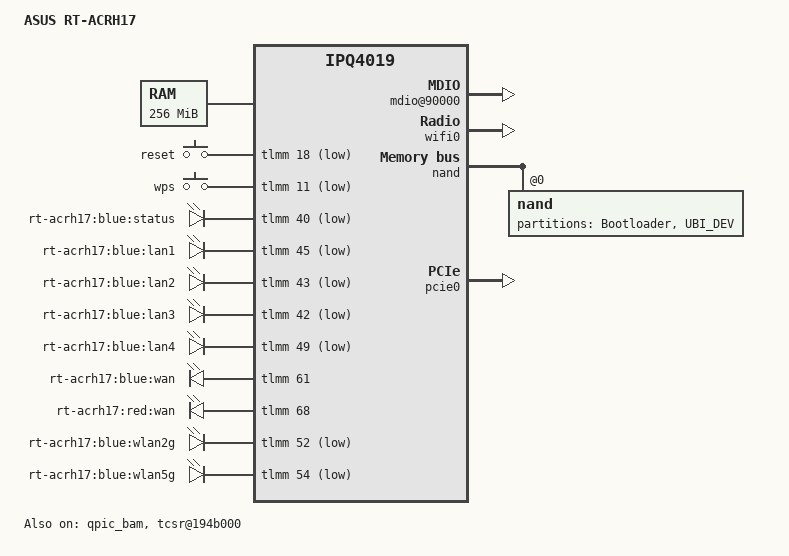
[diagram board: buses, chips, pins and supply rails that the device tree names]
/* Copyright (c) 2015, The Linux Foundation. All rights reserved.
 *
 * Permission to use, copy, modify, and/or distribute this software for any
 * purpose with or without fee is hereby granted, provided that the above
 * copyright notice and this permission notice appear in all copies.
 *
 * THE SOFTWARE IS PROVIDED "AS IS" AND THE AUTHOR DISCLAIMS ALL WARRANTIES
 * WITH REGARD TO THIS SOFTWARE INCLUDING ALL IMPLIED WARRANTIES OF
 * MERCHANTABILITY AND FITNESS. IN NO EVENT SHALL THE AUTHOR BE LIABLE FOR
 * ANY SPECIAL, DIRECT, INDIRECT, OR CONSEQUENTIAL DAMAGES OR ANY DAMAGES
 * WHATSOEVER RESULTING FROM LOSS OF USE, DATA OR PROFITS, WHETHER IN AN
 * ACTION OF CONTRACT, NEGLIGENCE OR OTHER TORTIOUS ACTION, ARISING OUT OF
 * OR IN CONNECTION WITH THE USE OR PERFORMANCE OF THIS SOFTWARE.
 *
 */

#include "qcom-ipq4019-ap.dk04.1.dtsi"
#include "qcom-ipq4019-bus.dtsi"
#include <dt-bindings/gpio/gpio.h>
#include <dt-bindings/input/input.h>
#include <dt-bindings/soc/qcom,tcsr.h>

/ {
	model = "ASUS RT-ACRH17";
	compatible = "asus,rt-acrh17", "qcom,ipq4019";

	memory {
		device_type = "memory";
		reg = <0x80000000 0x10000000>;
	};

	aliases {
		led-boot = &power;
		led-failsafe = &power;
		led-running = &power;
		led-upgrade = &power;
	};

	soc {
		spi_0: spi@78b5000 {
			status = "disabled";
		};

		tcsr@194b000 {
			/* select hostmode */
			compatible = "qcom,tcsr";
			reg = <0x194b000 0x100>;
			qcom,usb-hsphy-mode-select = <TCSR_USB_HSPHY_HOST_MODE>;
			status = "ok";
		};

		ess_tcsr@1953000 {
			compatible = "qcom,tcsr";
			reg = <0x1953000 0x1000>;
			qcom,ess-interface-select = <TCSR_ESS_PSGMII>;
		};

		tcsr@1949000 {
			compatible = "qcom,tcsr";
			reg = <0x1949000 0x100>;
			qcom,wifi_glb_cfg = <TCSR_WIFI_GLB_CFG>;
		};

		tcsr@1957000 {
			compatible = "qcom,tcsr";
			reg = <0x1957000 0x100>;
			qcom,wifi_noc_memtype_m0_m2 = <TCSR_WIFI_NOC_MEMTYPE_M0_M2>;
		};

		mdio@90000 {
			status = "okay";
		};

		ess-switch@c000000 {
			status = "okay";
		};

		ess-psgmii@98000 {
			status = "okay";
		};

		edma@c080000 {
			status = "okay";
		};

		wifi0: wifi@a000000 {
			status = "ok";
			core-id = <0x0>;
			qca,msi_addr = <0x0b006040>;
			qca,msi_base = <0x40>;
			wifi_led_num = <2>;         /* Wifi 2G */
			wifi_led_source = <0>;      /* source id 0 */
			qcom,mtd-name = "0:ART";
			qcom,cal-offset = <0x1000>;
			qcom,cal-len = <12064>;
		};

		wifi1: wifi@a800000 {
			status = "disabled";
		};
	};

	gpio-keys {
		compatible = "gpio-keys";

		reset {
			label = "reset";
			gpios = <&tlmm 18 GPIO_ACTIVE_LOW>;
			linux,code = <KEY_RESTART>;
		};

		wps {
			label = "wps";
			gpios = <&tlmm 11 GPIO_ACTIVE_LOW>;
			linux,code = <KEY_WPS_BUTTON>;
		};
	};

	gpio-leds {
		compatible = "gpio-leds";

		power: status {
			label = "rt-acrh17:blue:status";
			gpios = <&tlmm 40 GPIO_ACTIVE_LOW>;
		};

		lan1 {
			label = "rt-acrh17:blue:lan1";
			gpios = <&tlmm 45 GPIO_ACTIVE_LOW>;
		};

		lan2 {
			label = "rt-acrh17:blue:lan2";
			gpios = <&tlmm 43 GPIO_ACTIVE_LOW>;
		};

		lan3 {
			label = "rt-acrh17:blue:lan3";
			gpios = <&tlmm 42 GPIO_ACTIVE_LOW>;
		};

		lan4 {
			label = "rt-acrh17:blue:lan4";
			gpios = <&tlmm 49 GPIO_ACTIVE_LOW>;
		};

		wan_blue {
			label = "rt-acrh17:blue:wan";
			gpios = <&tlmm 61 GPIO_ACTIVE_HIGH>;
		};

		wan_red {
			label = "rt-acrh17:red:wan";
			gpios = <&tlmm 68 GPIO_ACTIVE_HIGH>;
		};

		wlan2g {
			label = "rt-acrh17:blue:wlan2g";
			gpios = <&tlmm 52 GPIO_ACTIVE_LOW>;
		};

		wlan5g {
			label = "rt-acrh17:blue:wlan5g";
			gpios = <&tlmm 54 GPIO_ACTIVE_LOW>;
		};
	};
};

&nand {
	pinctrl-0 = <&nand_pins>;
	pinctrl-names = "default";
	status = "okay";

	nand@0 {
		partitions {
			compatible = "fixed-partitions";
			#address-cells = <1>;
			#size-cells = <1>;

			partition@0 {
				label = "Bootloader";
				reg = <0x000000000000 0x000000400000>;
				read-only;
			};
			partition@1 {
				label = "UBI_DEV";
				reg = <0x000000400000 0x000007C00000>;
			};
		};
	};
};

&pcie0 {
	status = "okay";
	perst-gpio = <&tlmm 38 GPIO_ACTIVE_LOW>;
	wake-gpio = <&tlmm 50 GPIO_ACTIVE_LOW>;
	clkreq-gpio = <&tlmm 39 GPIO_ACTIVE_LOW>;
};

&qpic_bam {
	status = "okay";
};

&nand_pins {
	pullups {
		pins = "gpio53", "gpio58",
			 "gpio59";
		function = "qpic";
		bias-pull-up;
	};

	pulldowns {
		pins = "gpio55", "gpio56",
			 "gpio57", "gpio60",
			 "gpio62", "gpio63", "gpio64",
			 "gpio65", "gpio66", "gpio67",
			 "gpio69";
		function = "qpic";
		bias-pull-down;
	};
};

&i2c_0_pins {
	pinmux {
		function = "blsp_i2c0";
		pins = "gpio10";
	};
	pinconf {
		pins = "gpio10";
		drive-strength = <16>;
		bias-disable;
	};
};
